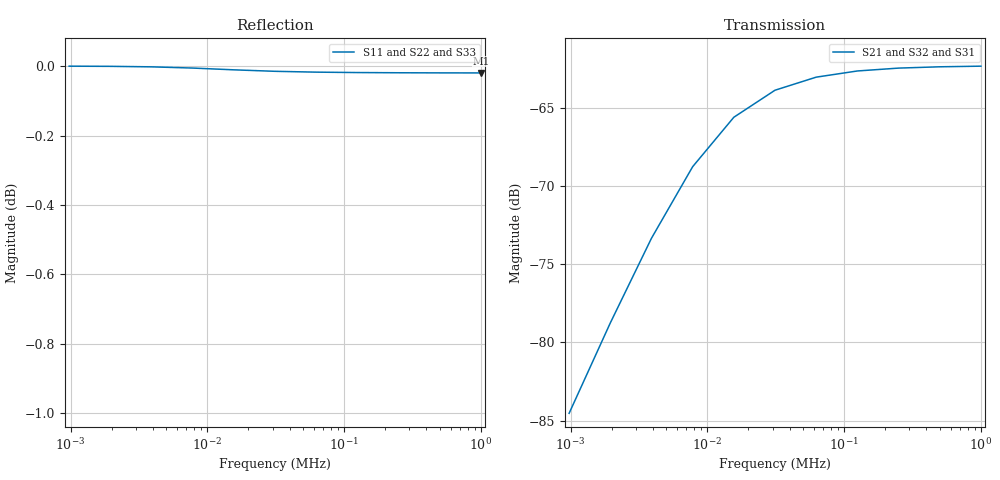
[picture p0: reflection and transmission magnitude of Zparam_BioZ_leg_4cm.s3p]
# MHz Z RI R 50
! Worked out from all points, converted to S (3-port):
!   11 points, 976.6 Hz to 1 MHz, reference 50 ohm
!   strongest paths, dB at 976.6 Hz, 3.906 kHz, 31.25 kHz, 250 kHz, 1 MHz:
!     S21: -84.5, -73.3, -63.9, -62.5, -62.3
!     S32: -84.5, -73.4, -64.0, -62.5, -62.4
!     S31: -84.5, -73.4, -64.2, -62.7, -62.5
!   lowest |S11| = 0.0 dB at 1 MHz (marker M1), VSWR 882.73, Z = 4.41e+04 - j855 ohm
!   |S11| at or under -10 dB: nowhere
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0.000976563  2327 -1.668e+04  1170 -8342  1154 -8342
             1170 -8342  2312 -1.668e+04  1157 -8342
             1154 -8342  1157 -8342  2296 -1.668e+04
0.00195313  1998 -8442  1006 -4221  990 -4221
            1006 -4221  1984 -8442  992.9 -4221
            990 -4221  992.9 -4221  1968 -8441
0.00390625  1803 -4303  908 -2152  892.8 -2152
            908 -2152  1789 -4303  895.7 -2152
            892.8 -2152  895.7 -2152  1774 -4303
0.0078125  1666 -2219  839.3 -1109  824.5 -1110
           839.3 -1109  1652 -2219  827.3 -1109
           824.5 -1110  827.3 -1109  1638 -2219
0.015625  1563 -1161  787.5 -580.8  773 -580.7
          787.5 -580.8  1549 -1161  775.7 -580.5
          773 -580.7  775.7 -580.5  1535 -1161
0.03125  1484 -617.6  747.9 -309.1  733.9 -308.5
         747.9 -309.1  1471 -616.9  736.6 -308.4
         733.9 -308.5  736.6 -308.4  1457 -616.3
0.0625  1425 -332  718.4 -166.6  705.3 -165.2
        718.4 -166.6  1414 -330.6  707.7 -165.4
        705.3 -165.2  707.7 -165.4  1401 -329.2
0.125  1384 -178.7  696.9 -90.33  685.6 -88.01
       696.9 -90.33  1374 -176.6  687.6 -88.47
       685.6 -88.01  687.6 -88.47  1362 -174.3
0.25  1355 -95.26  681.6 -48.73  672.8 -46.2
      681.6 -48.73  1347 -93.01  674.2 -46.69
      672.8 -46.2  674.2 -46.69  1339 -90.51
1  1326 -26.33  665.3 -13.78  660.3 -12.42
   665.3 -13.78  1321 -25.11  660.9 -12.64
   660.3 -12.42  660.9 -12.64  1316 -23.77
